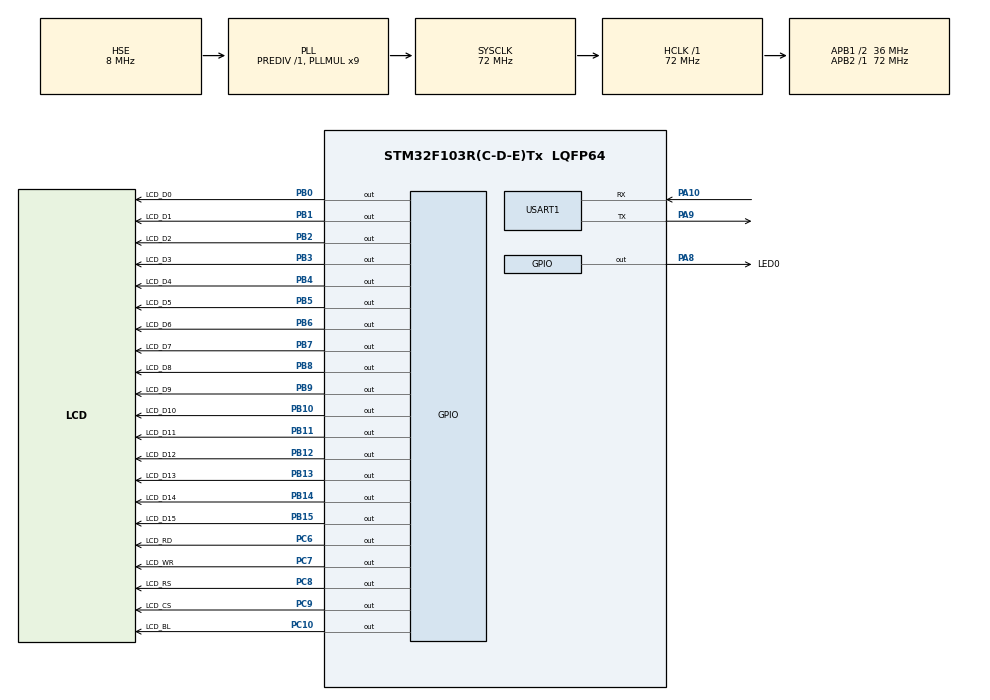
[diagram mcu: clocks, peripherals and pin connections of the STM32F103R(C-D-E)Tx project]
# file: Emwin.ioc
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Mcu.Family=STM32F1
Mcu.Name=STM32F103R(C-D-E)Tx
Mcu.Package=LQFP64
NVIC.PriorityGroup=NVIC_PRIORITYGROUP_4
NVIC.TIM2_IRQn=true\:0\:0\:false\:false\:true\:true\:true
NVIC.TIM5_IRQn=true\:0\:0\:false\:false\:true\:true\:true
NVIC.USART1_IRQn=true\:0\:0\:false\:false\:true\:true\:true
PA10.Mode=Asynchronous
PA10.Signal=USART1_RX
PA13.Mode=Serial_Wire
PA13.Signal=SYS_JTMS-SWDIO
PA14.Mode=Serial_Wire
PA14.Signal=SYS_JTCK-SWCLK
PA8.GPIO_Label=LED0
PA8.Signal=GPIO_Output
PA9.Mode=Asynchronous
PA9.Signal=USART1_TX
PB0.GPIO_Label=LCD_D0
PB0.Signal=GPIO_Output
PB1.GPIO_Label=LCD_D1
PB1.Signal=GPIO_Output
PB10.GPIO_Label=LCD_D10
PB10.Signal=GPIO_Output
PB11.GPIO_Label=LCD_D11
PB11.Signal=GPIO_Output
PB12.GPIO_Label=LCD_D12
PB12.Signal=GPIO_Output
PB13.GPIO_Label=LCD_D13
PB13.Signal=GPIO_Output
PB14.GPIO_Label=LCD_D14
PB14.Signal=GPIO_Output
PB15.GPIO_Label=LCD_D15
PB15.Signal=GPIO_Output
PB2.GPIO_Label=LCD_D2
PB2.Signal=GPIO_Output
PB3.GPIO_Label=LCD_D3
PB3.Signal=GPIO_Output
PB4.GPIO_Label=LCD_D4
PB4.Signal=GPIO_Output
PB5.GPIO_Label=LCD_D5
PB5.Signal=GPIO_Output
PB6.GPIO_Label=LCD_D6
PB6.Signal=GPIO_Output
PB7.GPIO_Label=LCD_D7
PB7.Signal=GPIO_Output
PB8.GPIO_Label=LCD_D8
PB8.Signal=GPIO_Output
PB9.GPIO_Label=LCD_D9
PB9.Signal=GPIO_Output
PC10.GPIO_Label=LCD_BL
PC10.GPIO_PuPd=GPIO_PULLUP
PC10.Signal=GPIO_Output
PC6.GPIO_Label=LCD_RD
PC6.GPIO_PuPd=GPIO_PULLUP
PC6.Signal=GPIO_Output
PC7.GPIO_Label=LCD_WR
PC7.GPIO_PuPd=GPIO_PULLUP
PC7.Signal=GPIO_Output
PC8.GPIO_Label=LCD_RS
PC8.GPIO_PuPd=GPIO_PULLUP
PC8.Signal=GPIO_Output
PC9.GPIO_Label=LCD_CS
PC9.GPIO_PuPd=GPIO_PULLUP
PC9.Signal=GPIO_Output
PD0-OSC_IN.Mode=HSE-External-Oscillator
PD0-OSC_IN.Signal=RCC_OSC_IN
PD1-OSC_OUT.Mode=HSE-External-Oscillator
PD1-OSC_OUT.Signal=RCC_OSC_OUT
ProjectManager.HeapSize=0x200
ProjectManager.StackSize=0x400
ProjectManager.TargetToolchain=MDK-ARM V5
RCC.AHBFreq_Value=72000000
RCC.APB1CLKDivider=RCC_HCLK_DIV2
RCC.APB1Freq_Value=36000000
RCC.APB1TimFreq_Value=72000000
RCC.APB2Freq_Value=72000000
RCC.APB2TimFreq_Value=72000000
RCC.HCLKFreq_Value=72000000
RCC.PLLMUL=RCC_PLL_MUL9
RCC.PLLSourceVirtual=RCC_PLLSOURCE_HSE
RCC.SYSCLKFreq_VALUE=72000000
RCC.SYSCLKSource=RCC_SYSCLKSOURCE_PLLCLK
RCC.USBFreq_Value=72000000
TIM2.Period=999
TIM2.Prescaler=71
TIM5.Period=999
TIM5.Prescaler=719
USART1.VirtualMode=VM_ASYNC
VP_CRC_VS_CRC.Mode=CRC_Activate
VP_TIM2_VS_ClockSourceINT.Mode=Internal
VP_TIM5_VS_ClockSourceINT.Mode=Internal
board=custom

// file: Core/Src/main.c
/* USER CODE BEGIN Header */
/**
  ******************************************************************************
  * @file           : main.c
  * @brief          : Main program body
  ******************************************************************************
  * @attention
  *
  * <h2><center>&copy; Copyright (c) 2021 STMicroelectronics.
  * All rights reserved.</center></h2>
  *
  * This software component is licensed by ST under BSD 3-Clause license,
  * the "License"; You may not use this file except in compliance with the
  * License. You may obtain a copy of the License at:
  *                        opensource.org/licenses/BSD-3-Clause
  *
  ******************************************************************************
  */
/* USER CODE END Header */
#include "main.h"
#include "crc.h"
#include "tim.h"
#include "usart.h"
#include "gpio.h"

/* USER CODE BEGIN Includes */
#include "ILI93xx.h"
#include "delay.h"
#include "sys.h"

#include "led.h"
#include "key.h"
#include "touch.h"
#include "24cxx.h"
#include "GUI.h"
/* USER CODE END Includes */

/* USER CODE BEGIN PV */
extern __IO int32_t OS_TimeMS;
/* USER CODE END PV */

void SystemClock_Config(void);

/* USER CODE BEGIN 0 */

//清空屏幕并在右上角显示"RST"
void Load_Drow_Dialog(void)
{
	LCD_Clear(WHITE);//清屏
 	POINT_COLOR=BLUE;//设置字体为蓝色
	LCD_ShowString(lcddev.width-24,0,200,16,16,"RST");//显示清屏区域
  	POINT_COLOR=RED;//设置画笔蓝色
}
////////////////////////////////////////////////////////////////////////////////
//电容触摸屏专有部分
//画水平线
//x0,y0:坐标
//len:线长度
//color:颜色
void gui_draw_hline(u16 x0,u16 y0,u16 len,u16 color)
{
	if(len==0)return;
	LCD_Fill(x0,y0,x0+len-1,y0,color);
}
//画实心圆
//x0,y0:坐标
//r:半径
//color:颜色
void gui_fill_circle(u16 x0,u16 y0,u16 r,u16 color)
{
	u32 i;
	u32 imax = ((u32)r*707)/1000+1;
	u32 sqmax = (u32)r*(u32)r+(u32)r/2;
	u32 x=r;
	gui_draw_hline(x0-r,y0,2*r,color);
	for (i=1;i<=imax;i++)
	{
		if ((i*i+x*x)>sqmax)// draw lines from outside
		{
 			if (x>imax)
			{
				gui_draw_hline (x0-i+1,y0+x,2*(i-1),color);
				gui_draw_hline (x0-i+1,y0-x,2*(i-1),color);
			}
			x--;
		}
		// draw lines from inside (center)
		gui_draw_hline(x0-x,y0+i,2*x,color);
		gui_draw_hline(x0-x,y0-i,2*x,color);
	}
}
//两个数之差的绝对值
//x1,x2：需取差值的两个数
//返回值：|x1-x2|
u16 my_abs(u16 x1,u16 x2)
{
	if(x1>x2)return x1-x2;
	else return x2-x1;
}
//画一条粗线
//(x1,y1),(x2,y2):线条的起始坐标
//size：线条的粗细程度
//color：线条的颜色
void lcd_draw_bline(u16 x1, u16 y1, u16 x2, u16 y2,u8 size,u16 color)
{
	u16 t;
	int xerr=0,yerr=0,delta_x,delta_y,distance;
	int incx,incy,uRow,uCol;
	if(x1<size|| x2<size||y1<size|| y2<size)return;
	delta_x=x2-x1; //计算坐标增量
	delta_y=y2-y1;
	uRow=x1;
	uCol=y1;
	if(delta_x>0)incx=1; //设置单步方向
	else if(delta_x==0)incx=0;//垂直线
	else {incx=-1;delta_x=-delta_x;}
	if(delta_y>0)incy=1;
	else if(delta_y==0)incy=0;//水平线
	else{incy=-1;delta_y=-delta_y;}
	if( delta_x>delta_y)distance=delta_x; //选取基本增量坐标轴
	else distance=delta_y;
	for(t=0;t<=distance+1;t++ )//画线输出
	{
		gui_fill_circle(uRow,uCol,size,color);//画点
		xerr+=delta_x ;
		yerr+=delta_y ;
		if(xerr>distance)
		{
			xerr-=distance;
			uRow+=incx;
		}
		if(yerr>distance)
		{
			yerr-=distance;
			uCol+=incy;
		}
	}
}
////////////////////////////////////////////////////////////////////////////////
//5个触控点的颜色(电容触摸屏用)
const u16 POINT_COLOR_TBL[5]={RED,GREEN,BLUE,BROWN,GRED};
//电阻触摸屏测试函数
void rtp_test(void)
{
	u8 key;
	u8 i=0;
	while(1)
	{
	 	key=KEY_Scan(0);
		tp_dev.scan(0);
		if(tp_dev.sta&TP_PRES_DOWN)			//触摸屏被按下
		{
		 	if(tp_dev.x[0]<lcddev.width&&tp_dev.y[0]<lcddev.height)
			{
				if(tp_dev.x[0]>(lcddev.width-24)&&tp_dev.y[0]<16)Load_Drow_Dialog();//清除
				else TP_Draw_Big_Point(tp_dev.x[0],tp_dev.y[0],RED);		//画图
			}
		}else delay_ms(10);	//没有按键按下的时候
		if(key==KEY0_PRES)	//KEY0按下,则执行校准程序
		{
			LCD_Clear(WHITE);	//清屏
		    TP_Adjust();  		//屏幕校准
			TP_Save_Adjdata();
			Load_Drow_Dialog();
		}
		i++;
		if(i%20==0)LED0=!LED0;
	}
}
//电容触摸屏测试函数
void ctp_test(void)
{
	u8 t=0;
	u8 i=0;
 	u16 lastpos[5][2];		//最后一次的数据
	while(1)
	{
		tp_dev.scan(0);
		for(t=0;t<5;t++)
		{
			if((tp_dev.sta)&(1<<t))
			{
                //printf("X坐标:%d,Y坐标:%d\r\n",tp_dev.x[0],tp_dev.y[0]);
				if(tp_dev.x[t]<lcddev.width&&tp_dev.y[t]<lcddev.height)
				{
					if(lastpos[t][0]==0XFFFF)
					{
						lastpos[t][0] = tp_dev.x[t];
						lastpos[t][1] = tp_dev.y[t];
					}

					lcd_draw_bline(lastpos[t][0],lastpos[t][1],tp_dev.x[t],tp_dev.y[t],2,POINT_COLOR_TBL[t]);//画线
					lastpos[t][0]=tp_dev.x[t];
					lastpos[t][1]=tp_dev.y[t];
					if(tp_dev.x[t]>(lcddev.width-24)&&tp_dev.y[t]<20)
					{
						Load_Drow_Dialog();//清除
					}
				}
			}else lastpos[t][0]=0XFFFF;
		}

		delay_ms(5);i++;
		if(i%20==0)LED0=!LED0;
	}
}
//触摸屏定位设置
void Mytouch_MainTask(void)
{
    GUI_PID_STATE TouchState;
    int xPhys;
    int yPhys;
    GUI_Init();
    GUI_SetFont(&GUI_Font20_ASCII);

   	GUI_CURSOR_Show();/////在这出问题
    GUI_CURSOR_Select(&GUI_CursorCrossL);/////

    GUI_SetBkColor(GUI_WHITE);
    GUI_SetColor(GUI_BLACK);
    GUI_Clear();
    GUI_DispString("Measurement of\nA/D converter values");
    while (1)
    {
        GUI_TOUCH_GetState(&TouchState); // Get the touch position in pixel
        xPhys = GUI_TOUCH_GetxPhys(); // Get the A/D mesurement result in x
        yPhys = GUI_TOUCH_GetyPhys(); // Get the A/D mesurement result in y
        GUI_SetColor(GUI_BLUE);
        GUI_DispStringAt("Analog input:\n", 0, 40);
        GUI_GotoY(GUI_GetDispPosY() + 2);
        GUI_DispString("x:");
        GUI_DispDec(xPhys, 4);
        GUI_DispString(", y:");
        GUI_DispDec(yPhys, 4);
        GUI_SetColor(GUI_RED);
        GUI_GotoY(GUI_GetDispPosY() + 4);
        GUI_DispString("\nPosition:\n");
        GUI_GotoY(GUI_GetDispPosY() + 2);
        GUI_DispString("x:");
        GUI_DispDec(TouchState.x,4);
        GUI_DispString(", y:");
        GUI_DispDec(TouchState.y,4);
        delay_ms(50);
    }
}
//

////回调函数，定时器中断服务函数调用
//void HAL_TIM_PeriodElapsedCallback(TIM_HandleTypeDef *htim)
//{
//    if(htim->Instance == TIM3)
//    {
//       OS_TimeMS++;
//    }
//		else if(htim->Instance == TIM6)
//    {
//        GUI_TOUCH_Exec();
//    HAL_GPIO_WritePin (LED0_GPIO_Port, LED0_Pin, GPIO_PIN_SET);
//    }
//}

/* USER CODE END 0 */

int main(void)
{

  /* MCU Configuration--------------------------------------------------------*/

  /* Reset of all peripherals, Initializes the Flash interface and the Systick. */
  HAL_Init();

  /* Configure the system clock */
  SystemClock_Config();

  /* Initialize all configured peripherals */
  MX_GPIO_Init();
  MX_USART1_UART_Init();
  MX_CRC_Init();
  MX_TIM2_Init();
  MX_TIM5_Init();
  /* USER CODE BEGIN 2 */
	delay_init(72);

	LED_Init();							//初始化LED
	KEY_Init();							//初始化按键
 	TFTLCD_Init();							//初始化LCD

	TP_Init();
  GUI_Init();

   HAL_TIM_Base_Start_IT(&htim2);

    HAL_TIM_Base_Start_IT(&htim5);

  /* USER CODE END 2 */

  /* Infinite loop */
  /* USER CODE BEGIN WHILE */

//	while (1)
//  {

    /* USER CODE END WHILE */

    /* USER CODE BEGIN 3 */
//  }

//	GUI_SetBkColor(GUI_BLUE);
//	GUI_SetColor(GUI_YELLOW);
//	GUI_Clear();
//	GUI_SetFont(&GUI_Font24_ASCII);
//	GUI_DispStringAt("Hello World!",0,0);

	Mytouch_MainTask();
	//rtp_test();
	while(1);

  /* USER CODE END 3 */
}

void SystemClock_Config(void)
{
  RCC_OscInitTypeDef RCC_OscInitStruct = {0};
  RCC_ClkInitTypeDef RCC_ClkInitStruct = {0};

  /** Initializes the RCC Oscillators according to the specified parameters
  * in the RCC_OscInitTypeDef structure.
  */
  RCC_OscInitStruct.OscillatorType = RCC_OSCILLATORTYPE_HSE;
  RCC_OscInitStruct.HSEState = RCC_HSE_ON;
  RCC_OscInitStruct.HSEPredivValue = RCC_HSE_PREDIV_DIV1;
  RCC_OscInitStruct.HSIState = RCC_HSI_ON;
  RCC_OscInitStruct.PLL.PLLState = RCC_PLL_ON;
  RCC_OscInitStruct.PLL.PLLSource = RCC_PLLSOURCE_HSE;
  RCC_OscInitStruct.PLL.PLLMUL = RCC_PLL_MUL9;
  if (HAL_RCC_OscConfig(&RCC_OscInitStruct) != HAL_OK)
  {
    Error_Handler();
  }
  /** Initializes the CPU, AHB and APB buses clocks
  */
  RCC_ClkInitStruct.ClockType = RCC_CLOCKTYPE_HCLK|RCC_CLOCKTYPE_SYSCLK
                              |RCC_CLOCKTYPE_PCLK1|RCC_CLOCKTYPE_PCLK2;
  RCC_ClkInitStruct.SYSCLKSource = RCC_SYSCLKSOURCE_PLLCLK;
  RCC_ClkInitStruct.AHBCLKDivider = RCC_SYSCLK_DIV1;
  RCC_ClkInitStruct.APB1CLKDivider = RCC_HCLK_DIV2;
  RCC_ClkInitStruct.APB2CLKDivider = RCC_HCLK_DIV1;

  if (HAL_RCC_ClockConfig(&RCC_ClkInitStruct, FLASH_LATENCY_2) != HAL_OK)
  {
    Error_Handler();
  }
}

/* USER CODE BEGIN 4 */
void HAL_TIM_PeriodElapsedCallback(TIM_HandleTypeDef *htim)
{
    static unsigned char ledState = 0;
    if (htim == (&htim2))
    {
     OS_TimeMS++;
    }
		else if (htim == (&htim5))
		{
			GUI_TOUCH_Exec();
		}
}

/* USER CODE END 4 */

void Error_Handler(void)
{
  __disable_irq();
  while (1)
  {
  }
}

/************************ (C) COPYRIGHT STMicroelectronics *****END OF FILE****/
